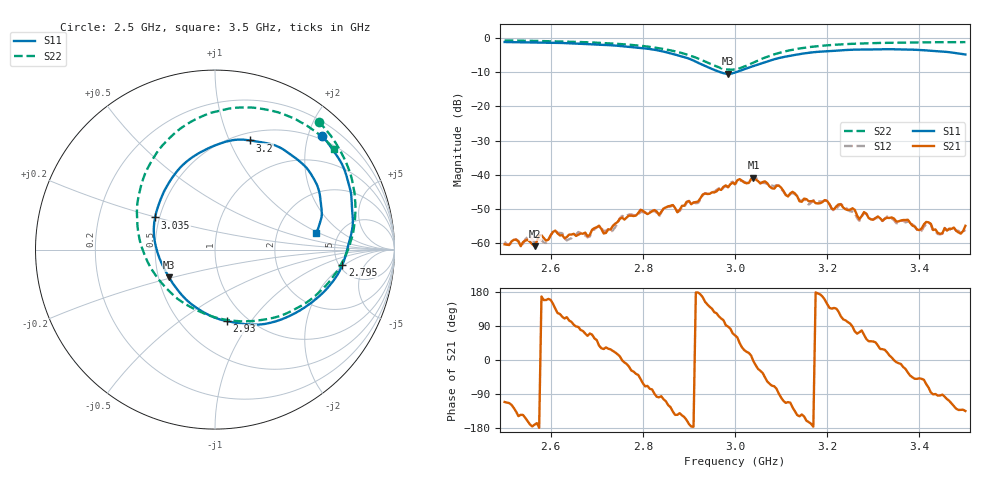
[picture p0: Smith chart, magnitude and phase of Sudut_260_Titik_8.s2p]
# Hz S RI R 50
! CMT, C1220, 16058040, 17.2.0/1
! Date: 15/08/2018 09:57:51
! Data: Format (Calibration Info)
! Freq  S11: Re/Im (F2)  S21: Re/Im (F2)  S12: Re/Im (F2)  S22: Re/Im (F2)
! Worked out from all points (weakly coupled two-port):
!   201 points, 2.5 GHz to 3.5 GHz, reference 50 ohm
!   highest |S21| = -40.78 dB at 3.04 GHz (marker M1); lowest = -60.8 dB at 2.565 GHz (marker M2)
!   lowest |S11| = -10.5 dB at 2.985 GHz (marker M3), VSWR 1.85, Z = 28.4 - j9.63 ohm
!   |S11| at or under -10 dB: 2.968 GHz to 3.002 GHz (34.37 MHz wide, 1.15 % of centre)
!   |S22| runs from -9.3 to -0.7 dB; largest |S21 - S12| = 0.00071
!   S11 on the Smith chart (normalised r, x): 2.5 GHz: 0.43, +2.25; 2.795 GHz: 5.37, -1.84; 2.93 GHz: 0.81, -0.77; 3.035 GHz: 0.47, +0.20; 3.2 GHz: 0.58, +1.19; 3.5 GHz: 3.39, +0.94
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2.5e9  0.5974 0.6331  -0.000345 -0.000908  -0.000309 -0.00102  0.5771 0.7136
2.565e9  0.6685 0.5379  -0.000901 -0.000151  -0.00105 9.6e-07  0.648 0.6305
2.61e9  0.7153 0.459  -0.0011 0.00108  -0.00112 0.00107  0.6933 0.5583
2.635e9  0.7355 0.3999  -0.000483 0.00114  -0.00033 0.00106  0.7171 0.5141
2.67e9  0.757 0.3171  0.000324 0.00135  0.00038 0.00129  0.7481 0.4408
2.72e9  0.7674 0.1785  0.00119 0.000781  0.00134 0.000756  0.7775 0.3155
2.795e9  0.7102 -0.0838  0.002 -0.00238  0.00184 -0.00222  0.7646 0.0733
2.835e9  0.611 -0.2312  -0.000389 -0.00259  -0.000278 -0.00245  0.7026 -0.081
2.93e9  0.0663 -0.3986  -0.00501 0.00129  -0.00499 0.00111  0.254 -0.3929
2.985e9  -0.2563 -0.1542  0.000238 0.0066  1.48e-06 0.00665  -0.1735 -0.2987
3e9  -0.3082 -0.0516  0.00309 0.00668  0.00335 0.00646  -0.2746 -0.2117
3.035e9  -0.3339 0.1789  0.00856 0.00177  0.00852 0.00194  -0.4192 0.0511
3.04e9  -0.3267 0.2106  0.00912 -0.000497  0.00933 -0.000249  -0.4274 0.093
3.105e9  -0.1365 0.5073  -0.00178 -0.0056  -0.00183 -0.00546  -0.3277 0.5345
3.17e9  0.0998 0.6099  -0.00417 -0.00029  -0.00421 -0.000658  -0.0722 0.7424
3.2e9  0.1941 0.6081  -0.00353 0.00223  -0.00342 0.00243  0.0395 0.777
3.27e9  0.3826 0.5569  0.000645 0.00216  0.000531 0.00207  0.2604 0.7846
3.335e9  0.5088 0.4571  0.0023 0.000494  0.00233 0.000424  0.4137 0.7419
3.4e9  0.5766 0.3355  0.00104 -0.00117  0.000853 -0.00121  0.5302 0.6779
3.42e9  0.5865 0.2873  0.000603 -0.00195  0.000643 -0.00191  0.5619 0.6562
3.445e9  0.594 0.2241  -9.21e-05 -0.00138  -5.84e-05 -0.00136  0.5974 0.6268
3.5e9  0.5643 0.0937  -0.00127 -0.00129  -0.00119 -0.00105  0.6627 0.56
